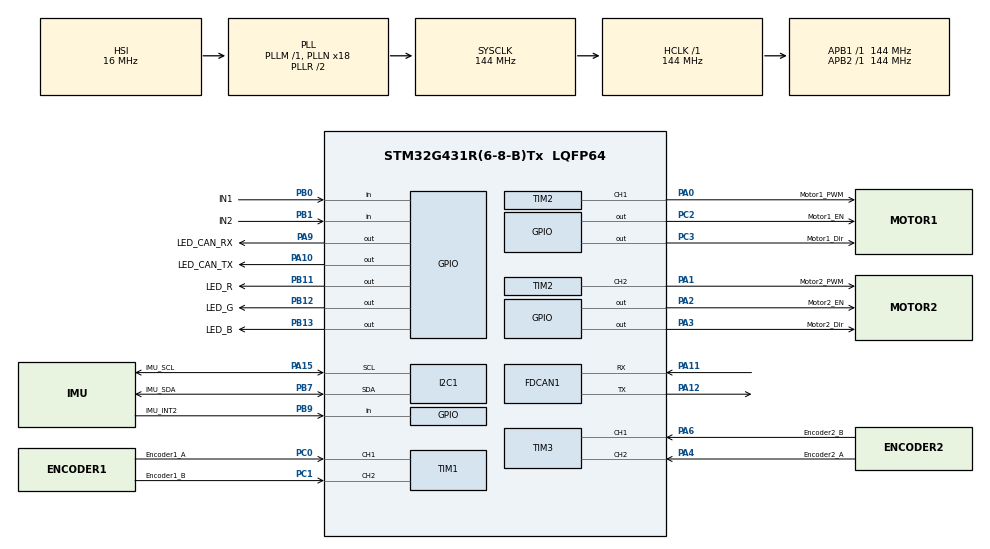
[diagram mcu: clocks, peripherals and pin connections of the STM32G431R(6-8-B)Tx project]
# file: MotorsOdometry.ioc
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Dma.I2C1_RX.0.Direction=DMA_PERIPH_TO_MEMORY
Dma.I2C1_RX.0.EventEnable=DISABLE
Dma.I2C1_RX.0.Instance=DMA1_Channel1
Dma.I2C1_RX.0.MemDataAlignment=DMA_MDATAALIGN_BYTE
Dma.I2C1_RX.0.MemInc=DMA_MINC_ENABLE
Dma.I2C1_RX.0.Mode=DMA_NORMAL
Dma.I2C1_RX.0.PeriphDataAlignment=DMA_PDATAALIGN_BYTE
Dma.I2C1_RX.0.PeriphInc=DMA_PINC_DISABLE
Dma.I2C1_RX.0.Polarity=HAL_DMAMUX_REQ_GEN_RISING
Dma.I2C1_RX.0.Priority=DMA_PRIORITY_LOW
Dma.I2C1_RX.0.RequestNumber=1
Dma.I2C1_RX.0.SignalID=NONE
Dma.I2C1_RX.0.SyncEnable=DISABLE
Dma.I2C1_RX.0.SyncPolarity=HAL_DMAMUX_SYNC_NO_EVENT
Dma.I2C1_RX.0.SyncRequestNumber=1
Dma.I2C1_RX.0.SyncSignalID=NONE
Dma.I2C1_TX.1.Direction=DMA_MEMORY_TO_PERIPH
Dma.I2C1_TX.1.EventEnable=DISABLE
Dma.I2C1_TX.1.Instance=DMA1_Channel2
Dma.I2C1_TX.1.MemDataAlignment=DMA_MDATAALIGN_BYTE
Dma.I2C1_TX.1.MemInc=DMA_MINC_ENABLE
Dma.I2C1_TX.1.Mode=DMA_NORMAL
Dma.I2C1_TX.1.PeriphDataAlignment=DMA_PDATAALIGN_BYTE
Dma.I2C1_TX.1.PeriphInc=DMA_PINC_DISABLE
Dma.I2C1_TX.1.Polarity=HAL_DMAMUX_REQ_GEN_RISING
Dma.I2C1_TX.1.Priority=DMA_PRIORITY_LOW
Dma.I2C1_TX.1.RequestNumber=1
Dma.I2C1_TX.1.SignalID=NONE
Dma.I2C1_TX.1.SyncEnable=DISABLE
Dma.I2C1_TX.1.SyncPolarity=HAL_DMAMUX_SYNC_NO_EVENT
Dma.I2C1_TX.1.SyncRequestNumber=1
Dma.I2C1_TX.1.SyncSignalID=NONE
Dma.Request0=I2C1_RX
Dma.Request1=I2C1_TX
FDCAN1.AutoRetransmission=ENABLE
FDCAN1.CalculateBaudRateNominal=1000000
FDCAN1.CalculateTimeBitNominal=1000
FDCAN1.CalculateTimeQuantumNominal=6.944444444444445
FDCAN1.DataPrescaler=1
FDCAN1.DataSyncJumpWidth=8
FDCAN1.DataTimeSeg1=9
FDCAN1.DataTimeSeg2=8
FDCAN1.FrameFormat=FDCAN_FRAME_FD_NO_BRS
FDCAN1.NominalPrescaler=1
FDCAN1.NominalSyncJumpWidth=19
FDCAN1.NominalTimeSeg1=124
FDCAN1.NominalTimeSeg2=19
FDCAN1.StdFiltersNbr=1
I2C1.Timing=0x60715075
Mcu.Family=STM32G4
Mcu.Name=STM32G431R(6-8-B)Tx
Mcu.Package=LQFP64
NVIC.DMA1_Channel1_IRQn=true\:0\:0\:false\:false\:true\:false\:true\:true
NVIC.DMA1_Channel2_IRQn=true\:0\:0\:false\:false\:true\:false\:true\:true
NVIC.FDCAN1_IT0_IRQn=true\:0\:0\:false\:false\:true\:true\:true\:true
NVIC.I2C1_ER_IRQn=true\:0\:0\:false\:false\:true\:true\:true\:true
NVIC.I2C1_EV_IRQn=true\:0\:0\:false\:false\:true\:true\:true\:true
NVIC.PriorityGroup=NVIC_PRIORITYGROUP_4
NVIC.TIM1_TRG_COM_TIM17_IRQn=true\:0\:0\:false\:false\:true\:true\:true\:true
NVIC.TIM6_DAC_IRQn=true\:1\:0\:true\:false\:true\:true\:true\:true
NVIC.TIM7_IRQn=true\:2\:0\:true\:false\:true\:true\:true\:true
PA0.GPIO_Label=Motor1_PWM
PA0.Signal=S_TIM2_CH1
PA1.GPIO_Label=Motor2_PWM
PA1.Signal=S_TIM2_CH2
PA10.GPIO_Label=LED_CAN_TX
PA10.Signal=GPIO_Output
PA11.Mode=FDCAN_Activate
PA11.Signal=FDCAN1_RX
PA12.Mode=FDCAN_Activate
PA12.Signal=FDCAN1_TX
PA13.Mode=Serial_Wire
PA13.Signal=SYS_JTMS-SWDIO
PA14.Mode=Serial_Wire
PA14.Signal=SYS_JTCK-SWCLK
PA15.GPIO_Label=IMU_SCL
PA15.GPIO_Pu=GPIO_PULLUP
PA15.Mode=I2C
PA15.Signal=I2C1_SCL
PA2.GPIO_Label=Motor2_EN
PA2.Signal=GPIO_Output
PA3.GPIO_Label=Motor2_Dir
PA3.Signal=GPIO_Output
PA4.GPIO_Label=Encoder2_A
PA4.Signal=S_TIM3_CH2
PA6.GPIO_Label=Encoder2_B
PA6.Signal=S_TIM3_CH1
PA9.GPIO_Label=LED_CAN_RX
PA9.Signal=GPIO_Output
PB0.GPIO_Label=IN1
PB0.Signal=GPIO_Input
PB1.GPIO_Label=IN2
PB1.Signal=GPIO_Input
PB11.GPIO_Label=LED_R
PB11.Signal=GPIO_Output
PB12.GPIO_Label=LED_G
PB12.Signal=GPIO_Output
PB13.GPIO_Label=LED_B
PB13.Signal=GPIO_Output
PB7.GPIO_Label=IMU_SDA
PB7.GPIO_Pu=GPIO_PULLUP
PB7.Mode=I2C
PB7.Signal=I2C1_SDA
PB9.GPIO_Label=IMU_INT2
PB9.Signal=GPIO_Input
PC0.GPIO_Label=Encoder1_A
PC0.Signal=S_TIM1_CH1
PC1.GPIO_Label=Encoder1_B
PC1.Signal=S_TIM1_CH2
PC2.GPIO_Label=Motor1_EN
PC2.Signal=GPIO_Output
PC3.GPIO_Label=Motor1_Dir
PC3.Signal=GPIO_Output
ProjectManager.HeapSize=0x200
ProjectManager.StackSize=0x400
ProjectManager.TargetToolchain=STM32CubeIDE
RCC.ADC12Freq_Value=144000000
RCC.AHBFreq_Value=144000000
RCC.APB1Freq_Value=144000000
RCC.APB1TimFreq_Value=144000000
RCC.APB2Freq_Value=144000000
RCC.APB2TimFreq_Value=144000000
RCC.CortexFreq_Value=144000000
RCC.EXTERNAL_CLOCK_VALUE=12288000
RCC.HCLKFreq_Value=144000000
RCC.HSE_VALUE=8000000
RCC.HSI48_VALUE=48000000
RCC.HSI_VALUE=16000000
RCC.LSE_VALUE=32768
RCC.PLLN=18
RCC.SYSCLKFreq_VALUE=144000000
RCC.SYSCLKSource=RCC_SYSCLKSOURCE_PLLCLK
RCC.USBFreq_Value=144000000
RCC.VCOOutputFreq_Value=288000000
SH.S_TIM1_CH1.0=TIM1_CH1,Encoder_Interface
SH.S_TIM1_CH2.0=TIM1_CH2,Encoder_Interface
SH.S_TIM2_CH1.0=TIM2_CH1,PWM Generation1 CH1
SH.S_TIM2_CH2.0=TIM2_CH2,PWM Generation2 CH2
SH.S_TIM3_CH1.0=TIM3_CH1,Encoder_Interface
SH.S_TIM3_CH2.0=TIM3_CH2,Encoder_Interface
TIM1.AutoReloadPreload=TIM_AUTORELOAD_PRELOAD_ENABLE
TIM1.EncoderMode=TIM_ENCODERMODE_TI12
TIM1.IC1Filter=10
TIM1.IC1Polarity=TIM_ICPOLARITY_FALLING
TIM1.IC2Filter=10
TIM17.AutoReloadPreload=TIM_AUTORELOAD_PRELOAD_ENABLE
TIM17.Channel=TIM_CHANNEL_1
TIM17.PeriodNoDither=1000
TIM17.Prescaler=144-1
TIM2.Channel-PWM\ Generation1\ CH1=TIM_CHANNEL_1
TIM2.Channel-PWM\ Generation2\ CH2=TIM_CHANNEL_2
TIM2.PeriodNoDither=28799
TIM3.AutoReloadPreload=TIM_AUTORELOAD_PRELOAD_ENABLE
TIM3.EncoderMode=TIM_ENCODERMODE_TI12
TIM3.IC1Filter=10
TIM3.IC1Polarity=TIM_ICPOLARITY_FALLING
TIM3.IC2Filter=10
TIM6.PeriodNoDither=48000-1
TIM6.Prescaler=2
TIM7.PeriodNoDither=60000-1
TIM7.Prescaler=11
VP_SYS_VS_DBSignals.Mode=DisableDeadBatterySignals
VP_TIM17_VS_ClockSourceINT.Mode=Enable_Timer
VP_TIM17_VS_no_output1.Mode=Output Compare1 No Output
VP_TIM6_VS_ClockSourceINT.Mode=Enable_Timer
VP_TIM7_VS_ClockSourceINT.Mode=Enable_Timer
board=custom

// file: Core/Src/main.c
/* USER CODE BEGIN Header */
/**
 ******************************************************************************
 * @file           : main.c
 * @brief          : Main program body
 ******************************************************************************
 * @attention
 *
 * Copyright (c) 2024 STMicroelectronics.
 * All rights reserved.
 *
 * This software is licensed under terms that can be found in the LICENSE file
 * in the root directory of this software component.
 * If no LICENSE file comes with this software, it is provided AS-IS.
 *
 ******************************************************************************
 */
/* USER CODE END Header */
#include "main.h"

FDCAN_HandleTypeDef hfdcan1;

I2C_HandleTypeDef hi2c1;
DMA_HandleTypeDef hdma_i2c1_rx;
DMA_HandleTypeDef hdma_i2c1_tx;

TIM_HandleTypeDef htim1;
TIM_HandleTypeDef htim2;
TIM_HandleTypeDef htim3;
TIM_HandleTypeDef htim6;
TIM_HandleTypeDef htim7;
TIM_HandleTypeDef htim17;

/* USER CODE BEGIN PV */
ISM330DHCX ism = {0};
uint8_t buff = 249;
float dt = 0.005;

uint8_t ism_read = 0;

float roll, pitch, yaw;
HAL_StatusTypeDef status;

/* USER CODE END PV */

void SystemClock_Config(void);
static void MX_GPIO_Init(void);
static void MX_DMA_Init(void);
static void MX_FDCAN1_Init(void);
static void MX_TIM1_Init(void);
static void MX_TIM2_Init(void);
static void MX_TIM3_Init(void);
static void MX_TIM6_Init(void);
static void MX_I2C1_Init(void);
static void MX_TIM7_Init(void);
static void MX_TIM17_Init(void);

int main(void)
{

  /* MCU Configuration--------------------------------------------------------*/

  /* Reset of all peripherals, Initializes the Flash interface and the Systick. */
  HAL_Init();

  /* USER CODE BEGIN Init */
  __reset_I2C1_LINE();
  /* USER CODE END Init */

  /* Configure the system clock */
  SystemClock_Config();

  /* Initialize all configured peripherals */
  MX_GPIO_Init();
  MX_DMA_Init();
  MX_FDCAN1_Init();
  MX_TIM1_Init();
  MX_TIM2_Init();
  MX_TIM3_Init();
  MX_TIM6_Init();
  MX_I2C1_Init();
  MX_TIM7_Init();
  MX_TIM17_Init();
  /* USER CODE BEGIN 2 */
//  HAL_NVIC_SetPriority(TIM6_DAC_IRQn, 1, 0); //odom
//  HAL_NVIC_SetPriority(FDCAN1_IT0_IRQn, 0, 0); //fdcan
//  HAL_NVIC_SetPriority(TIM7_IRQn, 2, 0); //movement

  FDCAN_Init(&hfdcan1);

  Init_Encoder(&left, &htim1);
  Init_Encoder(&right, &htim3);
  Config_Encoder_Wheel(&left,  1.000235414, 0.028050989, 347.55967287);//73
  Config_Encoder_Wheel(&right, 0.99976457,  0.028050989, 347.55967287);//73

  Init_Motor(&left_motor, &htim2);
  Init_Motor(&right_motor, &htim2);

  spline_init();
  synthesis_init();

  HAL_TIM_Base_Start_IT(&htim6); //odom
  HAL_TIM_Base_Start_IT(&htim7); //motor control

//  Enable_Motor(&left_motor, 0);
//  Enable_Motor(&right_motor, 0);

  uint8_t i2c_status = HAL_I2C_IsDeviceReady(&hi2c1, 0x6A << 1, 100, 100);

  status = init_ISM330DHCX(&ism, ISM_ADDRESS, &hi2c1);
//	if(i2c_status != ISM_OK) Error_Handler();

  status = set_OutputDataRate_Accelerometer(&ism, ISM_ODR_416HZ);
	//if(status != ISM_OK) Error_Handler();

  status = set_OutputDataRate_Gyroscope(&ism, ISM_ODR_416HZ);
//	if(status != ISM_OK) Error_Handler();

  status = set_Fullscale_Accelerometer(&ism, ISM_FS_ACC_2G);
//	if(status != ISM_OK) Error_Handler();

  status = set_Fullscale_Gyroscope(&ism, ISM_FS_GYRO_250);
//	if(status != ISM_OK) Error_Handler();

	HAL_Delay(1000);
	roll = pitch = yaw = 0;

	HAL_TIM_Base_Start_IT(&htim17);

  // Set_RPM(&left_motor, 5000);
  // Set_RPM(&right_motor, -5000);

  /* USER CODE END 2 */

  /* Infinite loop */
  /* USER CODE BEGIN WHILE */
  uint8_t some_status = 0;
  HAL_Delay(2000);
//
//  float x[1] = {500};
//  float y[1] = {500};
//  float theta[1] = {0};
//  spline_move(x, y, theta, 1, 700, 'f');
//
//  while(odom.x<100);
//  spline_activate_detection();

//synthesis_start_rotateTo(0, 5, 30);
//  synthesis_start_XY(1, 500, 'f', 500, 2000, 1, 1);
//  while(synthesis_state() != -1);
//  synthesis_start_XY(0, 0, 'r', 500, 2000, 1, 1);
//   while(synthesis_state() != -1);

//  synthesis_start_distance(500, 500, 500);
//  while(odom.y < 250);
//  synthesis_activate_detection(100);
//  synthesis_start_distance(200, 100, 300);
//    while(synthesis_state() != -1);
//  synthesis_start_distance(-200, 100, 300);
//  while(synthesis_state() != -1);

//HOMING
//  odom.x = 500;
//  odom.y = 0;
//  odom.theta = M_PI_2;
//
//  synthesis_start_distance(-200, 200, 200);
//  while(synthesis_state() != -1);
//  synthesis_start_distance(150, 200, 200);
//  while(synthesis_state() != -1);
//  odom.x = 0;
//  synthesis_start_rotateTo(0, 2, 2);
//  while(synthesis_state() != -1);
//  synthesis_start_distance(-200, 200, 200);
//  while(synthesis_state() != -1);
//  synthesis_start_distance(100, 200, 200);
//  while(synthesis_state() != -1);
//  synthesis_start_XY(300, 300, 'f', 100, 100, 2, 2);
//  while(synthesis_state() != -1);
//  synthesis_start_XY(200, 200, 'r', 100, 100, 2, 2);
//  while(synthesis_state() != -1);
//HOMING

//KOCKA
//  synthesis_start_XY(0, 700, 'r', 1000, 2000, 10, 15);
//  while(synthesis_state() != -1);
//
//  synthesis_start_XY(700, 700, 'f', 1000, 2000, 10, 15);
//  while(synthesis_state() != -1);
//
//  synthesis_start_XY(700, 0, 'r', 1000, 2000, 10, 15);
//  while(synthesis_state() != -1);
//
//  synthesis_start_XY(0, 0, 'f', 1000, 2000, 10, 15);
//  while(synthesis_state() != -1);
//
//  synthesis_start_XY(700, 700, 'r', 1000, 2000, 10, 15);
//  while(synthesis_state() != -1);
//
//  synthesis_start_XY(0, 0, 'f', 1000, 2000, 10, 15);
//   while(synthesis_state() != -1);
//
//  synthesis_start_rotateTo(1.57, 10, 15);
//KOCKA

//  synthesis_start_distance(500, 500, 1000);
//  while(synthesis_phase != -1);
//  synthesis_start_distance(-500, 500, 1000);
//  while(synthesis_phase != -1);
//  synthesis_start_distance(-100, 100, 100);
//  while(synthesis_phase != -1);
//  synthesis_start_XY(500, 500, 'f', 100, 500, 5, 5);
//  while(synthesis_phase != -1);5
//
  //uint32_t start = HAL_GetTick();
//  	odom.x = 1782;
//  	odom.y = 125;
//  float x[1] = {1095};
//  float y[1] = {850};
//  float t[1] = {M_PI_2};
//  spline_move(x, y, t, 1, 300, 'f');
//  while(spline_state() != -1);
//  synthesis_start_XY(1905, 1000, 'f', 300, 300, 1, 1);
//  while(synthesis_state() != -1);

//  synthesis_start_XY(1782, 600, 'f', 1000, 2000, 20, 15);
//  while(synthesis_state() != -1);
//  synthesis_start_XY(3000-775, 600, 'f', 1000, 2000, 20, 15);
//  while(synthesis_state() != -1);
//  synthesis_start_XY(3000-775, 400, 'f', 1000, 2000, 20, 15);
//  while(synthesis_state() != -1);
//  synthesis_start_XY(3000-775, 300, 'f', 300, 300, 20, 15);
//  while(synthesis_state() != -1);

//  synthesis_start_XY(0, 0, 'r', 500, 500, 5, 5);

//  x[0] = 0;
//  y[0] = 0;
//  t[0] = 1.57;
//  spline_move(x, y, t, 1, 500, 'r');
//  while(spline_state() != -1);
//  synthesis_start_XY(50, 50, 'r', 5, 5, 1, 1);
//  HAL_Delay(5000);
//  synthesis_start_rotateTo(0.1, 8, 20);
//  while(synthesis_phase != -1);
//  HAL_Delay(200);
//  synthesis_start_rotateTo(3.13, 8, 20);
//  while(synthesis_phase != -1);
//  HAL_Delay(200);
//  synthesis_start_rotateTo(1.57, 8, 20);
//  while(synthesis_phase != -1);
//  HAL_Delay(200);
//  synthesis_start_XY(100, 100, 1, 100, 100, 1, 1);
//  synthesis_start_distance(1500, 100, 2000);
//  HAL_Delay(5000);
//  synthesis_start_distance(500, 1000, 2000);
//  HAL_Delay(10000);
//  //Set_Speed(&left_motor, 20);
//  //Set_Speed(&right_motor, 20);
//  HAL_Delay(1000);
//  Enable_Motor(&left_motor, 0);
//  Enable_Motor(&right_motor, 0);
//  synthesis_start_rotateFor(4*M_PI, M_PI, M_PI);
//  synthesis_start_rotateFor(1*3.14, 2*3.14, 6*3.14);
//  Set_RPM(&left_motor, 2000);
//  Set_RPM(&right_motor, 2000);

//  status = get_Axies_All(&ism, dt);
//  HAL_Delay(5);
//  status = get_Axies_All(&ism, dt);

  while (1)
  {

	  if(ism_read){
		  ism_read = 0;
		  if(ism.initialized)
			  status = get_Axies_All(&ism, dt);

	  }
    if (i2c_status == HAL_OK)
    {
      HAL_GPIO_TogglePin(GPIOB, LED_G_Pin);
      some_status = 1;
    }

    if (send_status == HAL_OK)
    {
      send_status = HAL_ERROR;
      HAL_GPIO_TogglePin(LED_CAN_TX_GPIO_Port, LED_CAN_TX_Pin);
      some_status = 1;
    }
    else
    {
      HAL_GPIO_WritePin(LED_CAN_TX_GPIO_Port, LED_CAN_TX_Pin, GPIO_PIN_RESET);
    }

    if (receive_status == HAL_OK)
    {
      receive_status = HAL_ERROR;
      HAL_GPIO_TogglePin(LED_CAN_RX_GPIO_Port, LED_CAN_RX_Pin);
      some_status = 1;
    }
    else
    {
//      HAL_GPIO_WritePin(LED_CAN_RX_GPIO_Port, LED_CAN_RX_Pin, GPIO_PIN_RESET);
    }

    if (some_status)
    {
      some_status = 0;
      HAL_Delay(50);
    }
    /* USER CODE END WHILE */

    /* USER CODE BEGIN 3 */

  }

  //Stop_Motor(&left_motor);
  //Stop_Motor(&right_motor);
  /* USER CODE END 3 */
}

void SystemClock_Config(void)
{
  RCC_OscInitTypeDef RCC_OscInitStruct = {0};
  RCC_ClkInitTypeDef RCC_ClkInitStruct = {0};

  /** Configure the main internal regulator output voltage
  */
  HAL_PWREx_ControlVoltageScaling(PWR_REGULATOR_VOLTAGE_SCALE1);

  /** Initializes the RCC Oscillators according to the specified parameters
  * in the RCC_OscInitTypeDef structure.
  */
  RCC_OscInitStruct.OscillatorType = RCC_OSCILLATORTYPE_HSI;
  RCC_OscInitStruct.HSIState = RCC_HSI_ON;
  RCC_OscInitStruct.HSICalibrationValue = RCC_HSICALIBRATION_DEFAULT;
  RCC_OscInitStruct.PLL.PLLState = RCC_PLL_ON;
  RCC_OscInitStruct.PLL.PLLSource = RCC_PLLSOURCE_HSI;
  RCC_OscInitStruct.PLL.PLLM = RCC_PLLM_DIV1;
  RCC_OscInitStruct.PLL.PLLN = 18;
  RCC_OscInitStruct.PLL.PLLP = RCC_PLLP_DIV2;
  RCC_OscInitStruct.PLL.PLLQ = RCC_PLLQ_DIV2;
  RCC_OscInitStruct.PLL.PLLR = RCC_PLLR_DIV2;
  if (HAL_RCC_OscConfig(&RCC_OscInitStruct) != HAL_OK)
  {
    Error_Handler();
  }

  /** Initializes the CPU, AHB and APB buses clocks
  */
  RCC_ClkInitStruct.ClockType = RCC_CLOCKTYPE_HCLK|RCC_CLOCKTYPE_SYSCLK
                              |RCC_CLOCKTYPE_PCLK1|RCC_CLOCKTYPE_PCLK2;
  RCC_ClkInitStruct.SYSCLKSource = RCC_SYSCLKSOURCE_PLLCLK;
  RCC_ClkInitStruct.AHBCLKDivider = RCC_SYSCLK_DIV1;
  RCC_ClkInitStruct.APB1CLKDivider = RCC_HCLK_DIV1;
  RCC_ClkInitStruct.APB2CLKDivider = RCC_HCLK_DIV1;

  if (HAL_RCC_ClockConfig(&RCC_ClkInitStruct, FLASH_LATENCY_4) != HAL_OK)
  {
    Error_Handler();
  }
}

static void MX_FDCAN1_Init(void)
{

  hfdcan1.Instance = FDCAN1;
  hfdcan1.Init.ClockDivider = FDCAN_CLOCK_DIV1;
  hfdcan1.Init.FrameFormat = FDCAN_FRAME_FD_NO_BRS;
  hfdcan1.Init.Mode = FDCAN_MODE_NORMAL;
  hfdcan1.Init.AutoRetransmission = ENABLE;
  hfdcan1.Init.TransmitPause = DISABLE;
  hfdcan1.Init.ProtocolException = DISABLE;
  hfdcan1.Init.NominalPrescaler = 1;
  hfdcan1.Init.NominalSyncJumpWidth = 19;
  hfdcan1.Init.NominalTimeSeg1 = 124;
  hfdcan1.Init.NominalTimeSeg2 = 19;
  hfdcan1.Init.DataPrescaler = 1;
  hfdcan1.Init.DataSyncJumpWidth = 8;
  hfdcan1.Init.DataTimeSeg1 = 9;
  hfdcan1.Init.DataTimeSeg2 = 8;
  hfdcan1.Init.StdFiltersNbr = 1;
  hfdcan1.Init.ExtFiltersNbr = 0;
  hfdcan1.Init.TxFifoQueueMode = FDCAN_TX_FIFO_OPERATION;
  if (HAL_FDCAN_Init(&hfdcan1) != HAL_OK)
  {
    Error_Handler();
  }

}

static void MX_I2C1_Init(void)
{

  hi2c1.Instance = I2C1;
  hi2c1.Init.Timing = 0x60715075;
  hi2c1.Init.OwnAddress1 = 0;
  hi2c1.Init.AddressingMode = I2C_ADDRESSINGMODE_7BIT;
  hi2c1.Init.DualAddressMode = I2C_DUALADDRESS_DISABLE;
  hi2c1.Init.OwnAddress2 = 0;
  hi2c1.Init.OwnAddress2Masks = I2C_OA2_NOMASK;
  hi2c1.Init.GeneralCallMode = I2C_GENERALCALL_DISABLE;
  hi2c1.Init.NoStretchMode = I2C_NOSTRETCH_DISABLE;
  if (HAL_I2C_Init(&hi2c1) != HAL_OK)
  {
    Error_Handler();
  }

  /** Configure Analogue filter
  */
  if (HAL_I2CEx_ConfigAnalogFilter(&hi2c1, I2C_ANALOGFILTER_ENABLE) != HAL_OK)
  {
    Error_Handler();
  }

  /** Configure Digital filter
  */
  if (HAL_I2CEx_ConfigDigitalFilter(&hi2c1, 0) != HAL_OK)
  {
    Error_Handler();
  }

}

static void MX_TIM1_Init(void)
{

  TIM_Encoder_InitTypeDef sConfig = {0};
  TIM_MasterConfigTypeDef sMasterConfig = {0};

  htim1.Instance = TIM1;
  htim1.Init.Prescaler = 0;
  htim1.Init.CounterMode = TIM_COUNTERMODE_UP;
  htim1.Init.Period = 65535;
  htim1.Init.ClockDivision = TIM_CLOCKDIVISION_DIV1;
  htim1.Init.RepetitionCounter = 0;
  htim1.Init.AutoReloadPreload = TIM_AUTORELOAD_PRELOAD_ENABLE;
  sConfig.EncoderMode = TIM_ENCODERMODE_TI12;
  sConfig.IC1Polarity = TIM_ICPOLARITY_FALLING;
  sConfig.IC1Selection = TIM_ICSELECTION_DIRECTTI;
  sConfig.IC1Prescaler = TIM_ICPSC_DIV1;
  sConfig.IC1Filter = 10;
  sConfig.IC2Polarity = TIM_ICPOLARITY_RISING;
  sConfig.IC2Selection = TIM_ICSELECTION_DIRECTTI;
  sConfig.IC2Prescaler = TIM_ICPSC_DIV1;
  sConfig.IC2Filter = 10;
  if (HAL_TIM_Encoder_Init(&htim1, &sConfig) != HAL_OK)
  {
    Error_Handler();
  }
  sMasterConfig.MasterOutputTrigger = TIM_TRGO_RESET;
  sMasterConfig.MasterOutputTrigger2 = TIM_TRGO2_RESET;
  sMasterConfig.MasterSlaveMode = TIM_MASTERSLAVEMODE_DISABLE;
  if (HAL_TIMEx_MasterConfigSynchronization(&htim1, &sMasterConfig) != HAL_OK)
  {
    Error_Handler();
  }

}

static void MX_TIM2_Init(void)
{

  TIM_MasterConfigTypeDef sMasterConfig = {0};
  TIM_OC_InitTypeDef sConfigOC = {0};

  htim2.Instance = TIM2;
  htim2.Init.Prescaler = 0;
  htim2.Init.CounterMode = TIM_COUNTERMODE_UP;
  htim2.Init.Period = 28799;
  htim2.Init.ClockDivision = TIM_CLOCKDIVISION_DIV1;
  htim2.Init.AutoReloadPreload = TIM_AUTORELOAD_PRELOAD_DISABLE;
  if (HAL_TIM_PWM_Init(&htim2) != HAL_OK)
  {
    Error_Handler();
  }
  sMasterConfig.MasterOutputTrigger = TIM_TRGO_RESET;
  sMasterConfig.MasterSlaveMode = TIM_MASTERSLAVEMODE_DISABLE;
  if (HAL_TIMEx_MasterConfigSynchronization(&htim2, &sMasterConfig) != HAL_OK)
  {
    Error_Handler();
  }
  sConfigOC.OCMode = TIM_OCMODE_PWM1;
  sConfigOC.Pulse = 0;
  sConfigOC.OCPolarity = TIM_OCPOLARITY_HIGH;
  sConfigOC.OCFastMode = TIM_OCFAST_DISABLE;
  if (HAL_TIM_PWM_ConfigChannel(&htim2, &sConfigOC, TIM_CHANNEL_1) != HAL_OK)
  {
    Error_Handler();
  }
  if (HAL_TIM_PWM_ConfigChannel(&htim2, &sConfigOC, TIM_CHANNEL_2) != HAL_OK)
  {
    Error_Handler();
  }
  HAL_TIM_MspPostInit(&htim2);

}

static void MX_TIM3_Init(void)
{

  TIM_Encoder_InitTypeDef sConfig = {0};
  TIM_MasterConfigTypeDef sMasterConfig = {0};

  htim3.Instance = TIM3;
  htim3.Init.Prescaler = 0;
  htim3.Init.CounterMode = TIM_COUNTERMODE_UP;
  htim3.Init.Period = 65535;
  htim3.Init.ClockDivision = TIM_CLOCKDIVISION_DIV1;
  htim3.Init.AutoReloadPreload = TIM_AUTORELOAD_PRELOAD_ENABLE;
  sConfig.EncoderMode = TIM_ENCODERMODE_TI12;
  sConfig.IC1Polarity = TIM_ICPOLARITY_FALLING;
  sConfig.IC1Selection = TIM_ICSELECTION_DIRECTTI;
  sConfig.IC1Prescaler = TIM_ICPSC_DIV1;
  sConfig.IC1Filter = 10;
  sConfig.IC2Polarity = TIM_ICPOLARITY_RISING;
  sConfig.IC2Selection = TIM_ICSELECTION_DIRECTTI;
  sConfig.IC2Prescaler = TIM_ICPSC_DIV1;
  sConfig.IC2Filter = 10;
  if (HAL_TIM_Encoder_Init(&htim3, &sConfig) != HAL_OK)
  {
    Error_Handler();
  }
  sMasterConfig.MasterOutputTrigger = TIM_TRGO_RESET;
  sMasterConfig.MasterSlaveMode = TIM_MASTERSLAVEMODE_DISABLE;
  if (HAL_TIMEx_MasterConfigSynchronization(&htim3, &sMasterConfig) != HAL_OK)
  {
    Error_Handler();
  }

}

static void MX_TIM6_Init(void)
{

  TIM_MasterConfigTypeDef sMasterConfig = {0};

  htim6.Instance = TIM6;
  htim6.Init.Prescaler = 2;
  htim6.Init.CounterMode = TIM_COUNTERMODE_UP;
  htim6.Init.Period = 47999;
  htim6.Init.AutoReloadPreload = TIM_AUTORELOAD_PRELOAD_DISABLE;
  if (HAL_TIM_Base_Init(&htim6) != HAL_OK)
  {
    Error_Handler();
  }
  sMasterConfig.MasterOutputTrigger = TIM_TRGO_RESET;
  sMasterConfig.MasterSlaveMode = TIM_MASTERSLAVEMODE_DISABLE;
  if (HAL_TIMEx_MasterConfigSynchronization(&htim6, &sMasterConfig) != HAL_OK)
  {
    Error_Handler();
  }

}

static void MX_TIM7_Init(void)
{

  TIM_MasterConfigTypeDef sMasterConfig = {0};

  htim7.Instance = TIM7;
  htim7.Init.Prescaler = 11;
  htim7.Init.CounterMode = TIM_COUNTERMODE_UP;
  htim7.Init.Period = 59999;
  htim7.Init.AutoReloadPreload = TIM_AUTORELOAD_PRELOAD_DISABLE;
  if (HAL_TIM_Base_Init(&htim7) != HAL_OK)
  {
    Error_Handler();
  }
  sMasterConfig.MasterOutputTrigger = TIM_TRGO_RESET;
  sMasterConfig.MasterSlaveMode = TIM_MASTERSLAVEMODE_DISABLE;
  if (HAL_TIMEx_MasterConfigSynchronization(&htim7, &sMasterConfig) != HAL_OK)
  {
    Error_Handler();
  }

}

static void MX_TIM17_Init(void)
{

  TIM_OC_InitTypeDef sConfigOC = {0};
  TIM_BreakDeadTimeConfigTypeDef sBreakDeadTimeConfig = {0};

  htim17.Instance = TIM17;
  htim17.Init.Prescaler = 144-1;
  htim17.Init.CounterMode = TIM_COUNTERMODE_UP;
  htim17.Init.Period = 1000;
  htim17.Init.ClockDivision = TIM_CLOCKDIVISION_DIV1;
  htim17.Init.RepetitionCounter = 0;
  htim17.Init.AutoReloadPreload = TIM_AUTORELOAD_PRELOAD_ENABLE;
  if (HAL_TIM_Base_Init(&htim17) != HAL_OK)
  {
    Error_Handler();
  }
  if (HAL_TIM_OC_Init(&htim17) != HAL_OK)
  {
    Error_Handler();
  }
  sConfigOC.OCMode = TIM_OCMODE_TIMING;
  sConfigOC.Pulse = 0;
  sConfigOC.OCPolarity = TIM_OCPOLARITY_HIGH;
  sConfigOC.OCNPolarity = TIM_OCNPOLARITY_HIGH;
  sConfigOC.OCFastMode = TIM_OCFAST_DISABLE;
  sConfigOC.OCIdleState = TIM_OCIDLESTATE_RESET;
  sConfigOC.OCNIdleState = TIM_OCNIDLESTATE_RESET;
  if (HAL_TIM_OC_ConfigChannel(&htim17, &sConfigOC, TIM_CHANNEL_1) != HAL_OK)
  {
    Error_Handler();
  }
  sBreakDeadTimeConfig.OffStateRunMode = TIM_OSSR_DISABLE;
  sBreakDeadTimeConfig.OffStateIDLEMode = TIM_OSSI_DISABLE;
  sBreakDeadTimeConfig.LockLevel = TIM_LOCKLEVEL_OFF;
  sBreakDeadTimeConfig.DeadTime = 0;
  sBreakDeadTimeConfig.BreakState = TIM_BREAK_DISABLE;
  sBreakDeadTimeConfig.BreakPolarity = TIM_BREAKPOLARITY_HIGH;
  sBreakDeadTimeConfig.BreakFilter = 0;
  sBreakDeadTimeConfig.AutomaticOutput = TIM_AUTOMATICOUTPUT_DISABLE;
  if (HAL_TIMEx_ConfigBreakDeadTime(&htim17, &sBreakDeadTimeConfig) != HAL_OK)
  {
    Error_Handler();
  }

}

static void MX_DMA_Init(void)
{

  /* DMA controller clock enable */
  __HAL_RCC_DMAMUX1_CLK_ENABLE();
  __HAL_RCC_DMA1_CLK_ENABLE();

  /* DMA interrupt init */
  /* DMA1_Channel1_IRQn interrupt configuration */
  HAL_NVIC_SetPriority(DMA1_Channel1_IRQn, 0, 0);
  HAL_NVIC_EnableIRQ(DMA1_Channel1_IRQn);
  /* DMA1_Channel2_IRQn interrupt configuration */
  HAL_NVIC_SetPriority(DMA1_Channel2_IRQn, 0, 0);
  HAL_NVIC_EnableIRQ(DMA1_Channel2_IRQn);

}

static void MX_GPIO_Init(void)
{
  GPIO_InitTypeDef GPIO_InitStruct = {0};

  /* GPIO Ports Clock Enable */
  __HAL_RCC_GPIOC_CLK_ENABLE();
  __HAL_RCC_GPIOA_CLK_ENABLE();
  __HAL_RCC_GPIOB_CLK_ENABLE();

  /*Configure GPIO pin Output Level */
  HAL_GPIO_WritePin(GPIOC, Motor1_EN_Pin|Motor1_Dir_Pin, GPIO_PIN_RESET);

  /*Configure GPIO pin Output Level */
  HAL_GPIO_WritePin(GPIOA, Motor2_EN_Pin|Motor2_Dir_Pin|LED_CAN_RX_Pin|LED_CAN_TX_Pin, GPIO_PIN_RESET);

  /*Configure GPIO pin Output Level */
  HAL_GPIO_WritePin(GPIOB, LED_R_Pin|LED_G_Pin|LED_B_Pin, GPIO_PIN_RESET);

  /*Configure GPIO pins : Motor1_EN_Pin Motor1_Dir_Pin */
  GPIO_InitStruct.Pin = Motor1_EN_Pin|Motor1_Dir_Pin;
  GPIO_InitStruct.Mode = GPIO_MODE_OUTPUT_PP;
  GPIO_InitStruct.Pull = GPIO_NOPULL;
  GPIO_InitStruct.Speed = GPIO_SPEED_FREQ_LOW;
  HAL_GPIO_Init(GPIOC, &GPIO_InitStruct);

  /*Configure GPIO pins : Motor2_EN_Pin Motor2_Dir_Pin LED_CAN_RX_Pin LED_CAN_TX_Pin */
  GPIO_InitStruct.Pin = Motor2_EN_Pin|Motor2_Dir_Pin|LED_CAN_RX_Pin|LED_CAN_TX_Pin;
  GPIO_InitStruct.Mode = GPIO_MODE_OUTPUT_PP;
  GPIO_InitStruct.Pull = GPIO_NOPULL;
  GPIO_InitStruct.Speed = GPIO_SPEED_FREQ_LOW;
  HAL_GPIO_Init(GPIOA, &GPIO_InitStruct);

  /*Configure GPIO pins : IN1_Pin IN2_Pin IMU_INT2_Pin */
  GPIO_InitStruct.Pin = IN1_Pin|IN2_Pin|IMU_INT2_Pin;
  GPIO_InitStruct.Mode = GPIO_MODE_INPUT;
  GPIO_InitStruct.Pull = GPIO_NOPULL;
  HAL_GPIO_Init(GPIOB, &GPIO_InitStruct);

  /*Configure GPIO pins : LED_R_Pin LED_G_Pin LED_B_Pin */
  GPIO_InitStruct.Pin = LED_R_Pin|LED_G_Pin|LED_B_Pin;
  GPIO_InitStruct.Mode = GPIO_MODE_OUTPUT_PP;
  GPIO_InitStruct.Pull = GPIO_NOPULL;
  GPIO_InitStruct.Speed = GPIO_SPEED_FREQ_LOW;
  HAL_GPIO_Init(GPIOB, &GPIO_InitStruct);

}

void Error_Handler(void)
{
  /* USER CODE BEGIN Error_Handler_Debug */
  HAL_GPIO_WritePin(LED_R_GPIO_Port, LED_R_Pin, GPIO_PIN_SET);
  HAL_GPIO_WritePin(LED_G_GPIO_Port, LED_G_Pin, GPIO_PIN_SET);
  HAL_GPIO_WritePin(LED_B_GPIO_Port, LED_B_Pin, GPIO_PIN_SET);
  /* User can add his own implementation to report the HAL error return state */
  __disable_irq();
  while (1)
  {
	  HAL_GPIO_WritePin(LED_R_GPIO_Port, LED_R_Pin, GPIO_PIN_SET);
	  HAL_GPIO_WritePin(LED_G_GPIO_Port, LED_G_Pin, GPIO_PIN_SET);
	  HAL_GPIO_WritePin(LED_B_GPIO_Port, LED_B_Pin, GPIO_PIN_SET);
  }
  /* USER CODE END Error_Handler_Debug */
}
